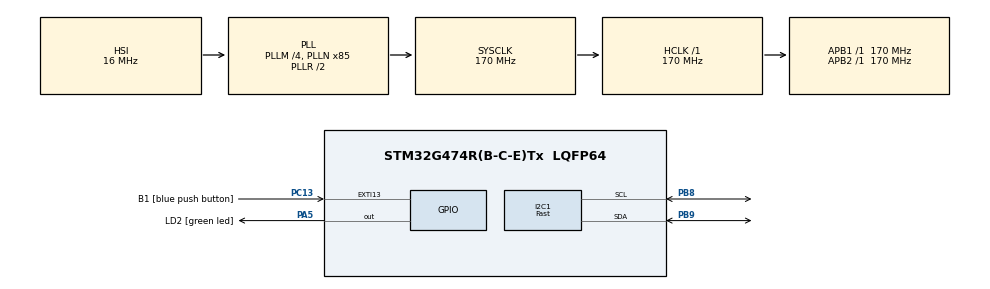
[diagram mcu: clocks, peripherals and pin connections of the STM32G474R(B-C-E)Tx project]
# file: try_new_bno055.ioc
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Dma.I2C1_RX.1.Direction=DMA_PERIPH_TO_MEMORY
Dma.I2C1_RX.1.EventEnable=DISABLE
Dma.I2C1_RX.1.Instance=DMA1_Channel2
Dma.I2C1_RX.1.MemDataAlignment=DMA_MDATAALIGN_BYTE
Dma.I2C1_RX.1.MemInc=DMA_MINC_ENABLE
Dma.I2C1_RX.1.Mode=DMA_NORMAL
Dma.I2C1_RX.1.PeriphDataAlignment=DMA_PDATAALIGN_BYTE
Dma.I2C1_RX.1.PeriphInc=DMA_PINC_DISABLE
Dma.I2C1_RX.1.Polarity=HAL_DMAMUX_REQ_GEN_RISING
Dma.I2C1_RX.1.Priority=DMA_PRIORITY_VERY_HIGH
Dma.I2C1_RX.1.RequestNumber=1
Dma.I2C1_RX.1.SignalID=NONE
Dma.I2C1_RX.1.SyncEnable=DISABLE
Dma.I2C1_RX.1.SyncPolarity=HAL_DMAMUX_SYNC_NO_EVENT
Dma.I2C1_RX.1.SyncRequestNumber=1
Dma.I2C1_RX.1.SyncSignalID=NONE
Dma.I2C1_TX.0.Direction=DMA_MEMORY_TO_PERIPH
Dma.I2C1_TX.0.EventEnable=DISABLE
Dma.I2C1_TX.0.Instance=DMA1_Channel1
Dma.I2C1_TX.0.MemDataAlignment=DMA_MDATAALIGN_BYTE
Dma.I2C1_TX.0.MemInc=DMA_MINC_ENABLE
Dma.I2C1_TX.0.Mode=DMA_NORMAL
Dma.I2C1_TX.0.PeriphDataAlignment=DMA_PDATAALIGN_BYTE
Dma.I2C1_TX.0.PeriphInc=DMA_PINC_DISABLE
Dma.I2C1_TX.0.Polarity=HAL_DMAMUX_REQ_GEN_RISING
Dma.I2C1_TX.0.Priority=DMA_PRIORITY_VERY_HIGH
Dma.I2C1_TX.0.RequestNumber=1
Dma.I2C1_TX.0.SignalID=NONE
Dma.I2C1_TX.0.SyncEnable=DISABLE
Dma.I2C1_TX.0.SyncPolarity=HAL_DMAMUX_SYNC_NO_EVENT
Dma.I2C1_TX.0.SyncRequestNumber=1
Dma.I2C1_TX.0.SyncSignalID=NONE
Dma.Request0=I2C1_TX
Dma.Request1=I2C1_RX
I2C1.I2C_Speed_Mode=I2C_Fast
I2C1.Timing=0x40621236
Mcu.Family=STM32G4
Mcu.Name=STM32G474R(B-C-E)Tx
Mcu.Package=LQFP64
NVIC.DMA1_Channel1_IRQn=true\:0\:0\:false\:false\:true\:false\:true\:true
NVIC.DMA1_Channel2_IRQn=true\:0\:0\:false\:false\:true\:false\:true\:true
NVIC.EXTI15_10_IRQn=true\:0\:0\:false\:false\:true\:true\:true\:true
NVIC.I2C1_ER_IRQn=true\:0\:0\:false\:false\:true\:true\:true\:true
NVIC.I2C1_EV_IRQn=true\:0\:0\:false\:false\:true\:true\:true\:true
NVIC.PriorityGroup=NVIC_PRIORITYGROUP_4
NVIC.TIM2_IRQn=true\:0\:0\:false\:false\:true\:true\:true\:true
PA13.GPIO_Label=T_SWDIO
PA13.Signal=SYS_JTMS-SWDIO
PA14.GPIO_Label=T_SWCLK
PA14.Signal=SYS_JTCK-SWCLK
PA2.GPIO_Label=LPUART1_TX [STLINKV3E_VCP_RX]
PA2.Signal=LPUART1_TX
PA3.GPIO_Label=LPUART1_RX [STLINKV3E_VCP_TX]
PA3.Signal=LPUART1_RX
PA5.GPIO_Label=LD2 [green led]
PA5.Signal=GPIO_Output
PB3.GPIO_Label=T_SWO
PB3.Signal=SYS_JTDO-SWO
PB8-BOOT0.Mode=I2C
PB8-BOOT0.Signal=I2C1_SCL
PB9.Mode=I2C
PB9.Signal=I2C1_SDA
PC13.GPIO_Label=B1 [blue push button]
PC13.Signal=GPXTI13
PC14-OSC32_IN.GPIO_Label=RCC_OSC32_IN
PC14-OSC32_IN.Signal=RCC_OSC32_IN
PC15-OSC32_OUT.GPIO_Label=RCC_OSC32_OUT
PC15-OSC32_OUT.Signal=RCC_OSC32_OUT
PF0-OSC_IN.GPIO_Label=RCC_OSC_IN
PF0-OSC_IN.Signal=RCC_OSC_IN
PF1-OSC_OUT.GPIO_Label=RCC_OSC_OUT
PF1-OSC_OUT.Signal=RCC_OSC_OUT
ProjectManager.HeapSize=0x200
ProjectManager.StackSize=0x400
ProjectManager.TargetToolchain=STM32CubeIDE
RCC.ADC12Freq_Value=170000000
RCC.ADC345Freq_Value=170000000
RCC.AHBFreq_Value=170000000
RCC.APB1Freq_Value=170000000
RCC.APB1TimFreq_Value=170000000
RCC.APB2Freq_Value=170000000
RCC.APB2TimFreq_Value=170000000
RCC.CortexFreq_Value=170000000
RCC.EXTERNAL_CLOCK_VALUE=12288000
RCC.HCLKFreq_Value=170000000
RCC.HSE_VALUE=24000000
RCC.HSI48_VALUE=48000000
RCC.HSI_VALUE=16000000
RCC.LSE_VALUE=32768
RCC.PLLM=RCC_PLLM_DIV4
RCC.PLLN=85
RCC.RTCClockSelection=RCC_RTCCLKSOURCE_LSE
RCC.SYSCLKFreq_VALUE=170000000
RCC.SYSCLKSource=RCC_SYSCLKSOURCE_PLLCLK
RCC.USBFreq_Value=170000000
RCC.VCOOutputFreq_Value=340000000
TIM2.PeriodNoDither=999
TIM2.Prescaler=169
TIM2.TIM_MasterOutputTrigger=TIM_TRGO_UPDATE
VP_SYS_VS_DBSignals.Mode=DisableDeadBatterySignals
VP_TIM2_VS_ClockSourceINT.Mode=Internal
board=NUCLEO-G474RE

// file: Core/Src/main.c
/* USER CODE BEGIN Header */
/**
 ******************************************************************************
 * @file           : main.c
 * @brief          : Main program body
 ******************************************************************************
 * @attention
 *
 * Copyright (c) 2025 STMicroelectronics.
 * All rights reserved.
 *
 * This software is licensed under terms that can be found in the LICENSE file
 * in the root directory of this software component.
 * If no LICENSE file comes with this software, it is provided AS-IS.
 *
 ******************************************************************************
 */
/* USER CODE END Header */
#include "main.h"
#include "dma.h"
#include "i2c.h"
#include "tim.h"
#include "gpio.h"
#include "BNO055.h"

/* USER CODE BEGIN PV */
BNO055_t bno;

const calibration_data_t saved_calib = {
    .accel_offset_x = 8,
    .accel_offset_y = 17,
    .accel_offset_z = -17,
    .mag_offset_x = -396,
    .mag_offset_y = 179,
    .mag_offset_z = -221,
    .gyro_offset_x = -2,
    .gyro_offset_y = 1,
    .gyro_offset_z = 0,
    .accel_radius = 1000,
    .mag_radius = 1207
};
/* USER CODE END PV */

void SystemClock_Config(void);

int main(void) {

	/* MCU Configuration--------------------------------------------------------*/

	/* Reset of all peripherals, Initializes the Flash interface and the Systick. */
	HAL_Init();

	/* Configure the system clock */
	SystemClock_Config();

	/* Initialize all configured peripherals */
	MX_GPIO_Init();
	MX_DMA_Init();
	MX_I2C1_Init();
	MX_TIM2_Init();
	/* USER CODE BEGIN 2 */
	/* Initialize BNO055 */
	if (BNO055_Init(&bno, &hi2c1, 0) != HAL_OK) {
	    Error_Handler();
	}

	/* Load calibration for absolute orientation */
	BNO055_LoadCalibration(&bno, &saved_calib);

	BNO055_SetAxisRemap(&bno, 0x24, 0x06);

	/* Start timer for high-rate updates */
	HAL_TIM_Base_Start_IT(&htim2);
	/* USER CODE END 2 */

	/* Infinite loop */
	while (1) {

	}
}

void SystemClock_Config(void) {
	RCC_OscInitTypeDef RCC_OscInitStruct = { 0 };
	RCC_ClkInitTypeDef RCC_ClkInitStruct = { 0 };

	/** Configure the main internal regulator output voltage
	 */
	HAL_PWREx_ControlVoltageScaling(PWR_REGULATOR_VOLTAGE_SCALE1_BOOST);

	/** Initializes the RCC Oscillators according to the specified parameters
	 * in the RCC_OscInitTypeDef structure.
	 */
	RCC_OscInitStruct.OscillatorType = RCC_OSCILLATORTYPE_HSI;
	RCC_OscInitStruct.HSIState = RCC_HSI_ON;
	RCC_OscInitStruct.HSICalibrationValue = RCC_HSICALIBRATION_DEFAULT;
	RCC_OscInitStruct.PLL.PLLState = RCC_PLL_ON;
	RCC_OscInitStruct.PLL.PLLSource = RCC_PLLSOURCE_HSI;
	RCC_OscInitStruct.PLL.PLLM = RCC_PLLM_DIV4;
	RCC_OscInitStruct.PLL.PLLN = 85;
	RCC_OscInitStruct.PLL.PLLP = RCC_PLLP_DIV2;
	RCC_OscInitStruct.PLL.PLLQ = RCC_PLLQ_DIV2;
	RCC_OscInitStruct.PLL.PLLR = RCC_PLLR_DIV2;
	if (HAL_RCC_OscConfig(&RCC_OscInitStruct) != HAL_OK) {
		Error_Handler();
	}

	/** Initializes the CPU, AHB and APB buses clocks
	 */
	RCC_ClkInitStruct.ClockType = RCC_CLOCKTYPE_HCLK | RCC_CLOCKTYPE_SYSCLK
			| RCC_CLOCKTYPE_PCLK1 | RCC_CLOCKTYPE_PCLK2;
	RCC_ClkInitStruct.SYSCLKSource = RCC_SYSCLKSOURCE_PLLCLK;
	RCC_ClkInitStruct.AHBCLKDivider = RCC_SYSCLK_DIV1;
	RCC_ClkInitStruct.APB1CLKDivider = RCC_HCLK_DIV1;
	RCC_ClkInitStruct.APB2CLKDivider = RCC_HCLK_DIV1;

	if (HAL_RCC_ClockConfig(&RCC_ClkInitStruct, FLASH_LATENCY_4) != HAL_OK) {
		Error_Handler();
	}
}

/* USER CODE BEGIN 4 */
void HAL_TIM_PeriodElapsedCallback(TIM_HandleTypeDef *htim)
{
    if (htim == &htim2) {
        if (bno.dma_ready) {
            BNO055_UpdateDMA(&bno);  // Start DMA transfer
        }
    }
}

void HAL_I2C_MemRxCpltCallback(I2C_HandleTypeDef *hi2c)
{
    if (hi2c->Instance == I2C1) {
        BNO055_ProcessDMA(&bno);

        /* Data now available:
         * bno.accel.x/y/z     - Accelerometer in m/s²
         * bno.gyro.x/y/z      - Gyroscope in rad/s
         * bno.mag.x/y/z       - Magnetometer in µT
         * bno.euler.yaw       - Yaw in radians (CCW positive)
         * bno.euler.roll      - Roll in radians (CCW positive)
         * bno.euler.pitch     - Pitch in radians (CCW positive)
         * bno.quat.w/x/y/z    - Quaternion (absolute orientation)
         * bno.is_calibrated   - True if absolute orientation valid
         */
    }
}
/* USER CODE END 4 */

void Error_Handler(void) {
	__disable_irq();
	while (1) {
	}
}
